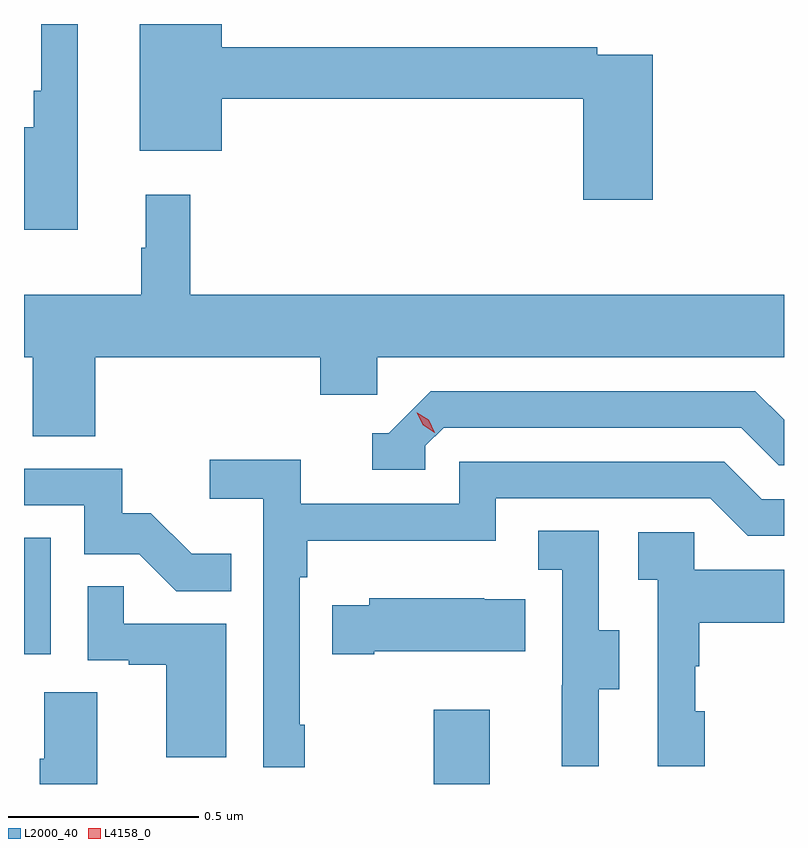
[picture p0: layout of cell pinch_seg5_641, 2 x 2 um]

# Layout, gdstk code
import gdstk
lib = gdstk.Library(unit=1e-6, precision=1e-09)
def R(c, l, rs):  # rectangles x0, y0, x1, y1
    for r in rs: c.add(gdstk.rectangle(r[:2], r[2:], *l))
def P(c, l, *ps):  # polygons
    for p in ps: c.add(gdstk.Polygon(p, *l))
L2000_40 = (2000, 40)
L4158_0 = (4158, 0)

pinch_seg5_641 = lib.new_cell('pinch_seg5_641')
R(pinch_seg5_641, L2000_40, [(1072.696,854.305,1072.843,854.5), (1071.618,854.646,1071.688,854.953)])
P(pinch_seg5_641, L2000_40, [(1071.76,856.305),(1071.663,856.305),(1071.663,856.129),(1071.643,856.129),(1071.643,856.033),(1071.618,856.033),(1071.618,855.764),(1071.76,855.764)],
  [(1073.273,856.224),(1073.126,856.224),(1073.126,856.244),(1072.138,856.244),(1072.138,856.305),(1071.923,856.305),(1071.923,855.971),(1072.138,855.971),(1072.138,856.108),(1073.09,856.108),(1073.09,855.843),(1073.273,855.843)],
  [(1071.806,855.428),(1072.397,855.428),(1072.397,855.33),(1072.548,855.33),(1072.548,855.428),(1073.618,855.428),(1073.618,855.592),(1072.055,855.592),(1072.055,855.856),(1071.938,855.856),(1071.938,855.716),(1071.927,855.716),(1071.927,855.592),(1071.618,855.592),(1071.618,855.428),(1071.641,855.428),(1071.641,855.22),(1071.806,855.22)],
  [(1072.674,855.195),(1072.722,855.243),(1073.505,855.243),(1073.604,855.144),(1073.618,855.144),(1073.618,855.263),(1073.542,855.339),(1072.689,855.339),(1072.578,855.228),(1072.535,855.228),(1072.535,855.132),(1072.674,855.132)],
  [(1072.357,854.461),(1072.344,854.461),(1072.344,854.849),(1072.364,854.849),(1072.364,854.945),(1072.86,854.945),(1072.86,855.057),(1073.424,855.057),(1073.523,854.958),(1073.618,854.958),(1073.618,855.054),(1073.56,855.054),(1073.461,855.153),(1072.764,855.153),(1072.764,855.042),(1072.346,855.042),(1072.346,855.158),(1072.107,855.158),(1072.107,855.056),(1072.248,855.056),(1072.248,854.349),(1072.357,854.349)],
  [(1072.163,854.911),(1072.059,854.911),(1071.952,855.018),(1071.876,855.018),(1071.876,855.135),(1071.618,855.135),(1071.618,855.039),(1071.777,855.039),(1071.777,854.91),(1071.921,854.91),(1072.019,854.812),(1072.163,854.812)],
  [(1073.131,854.554),(1073.185,854.554),(1073.185,854.709),(1073.13,854.709),(1073.13,854.972),(1072.971,854.972),(1072.971,854.869),(1073.034,854.869),(1073.034,854.565),(1073.033,854.565),(1073.033,854.352),(1073.131,854.352)],
  [(1073.41,854.496),(1073.385,854.496),(1073.385,854.615),(1073.395,854.615),(1073.395,854.729),(1073.618,854.729),(1073.618,854.869),(1073.382,854.869),(1073.382,854.967),(1073.235,854.967),(1073.235,854.843),(1073.286,854.843),(1073.286,854.352),(1073.41,854.352)],
  [(1072.15,854.727),(1071.881,854.727),(1071.881,854.825),(1071.786,854.825),(1071.786,854.631),(1071.893,854.631),(1071.893,854.619),(1071.992,854.619),(1071.992,854.376),(1072.15,854.376)],
  [(1072.54,854.654),(1072.937,854.654),(1072.937,854.791),(1072.829,854.791),(1072.829,854.794),(1072.527,854.794),(1072.527,854.776),(1072.429,854.776),(1072.429,854.647),(1072.54,854.647)],
  [(1071.811,854.546),(1071.671,854.546),(1071.671,854.372),(1071.659,854.372),(1071.659,854.305),(1071.811,854.305)])
P(pinch_seg5_641, L4158_0, [(1072.699,855.23),(1072.668,855.249),(1072.652,855.282),(1072.652,855.282),(1072.653,855.282),(1072.683,855.263),(1072.699,855.23),(1072.699,855.23)])

lib.write_gds('pinch_seg5_641.gds')
